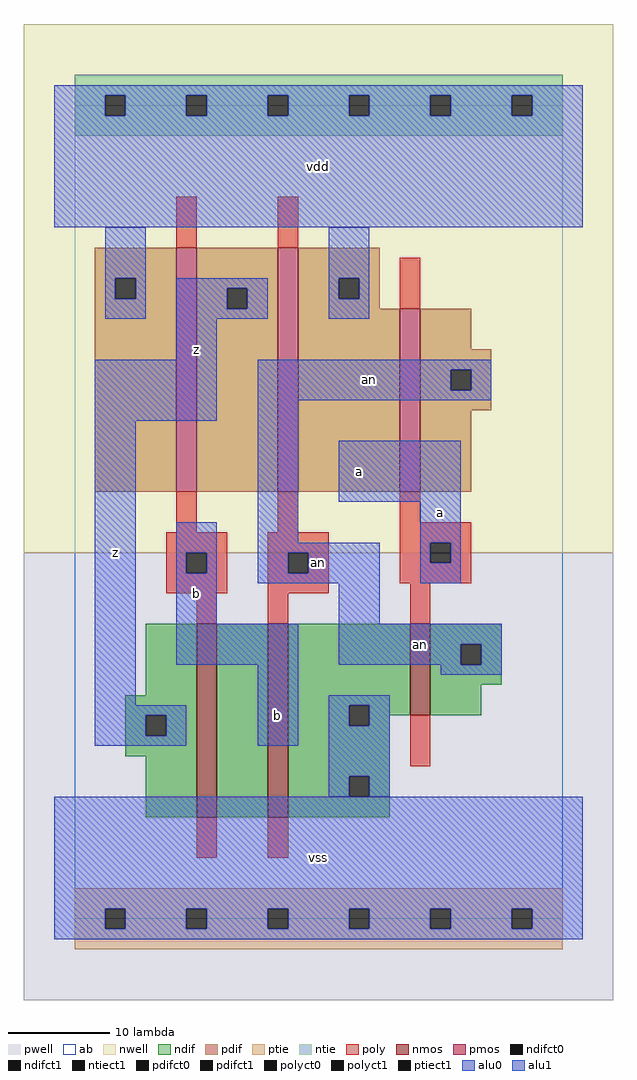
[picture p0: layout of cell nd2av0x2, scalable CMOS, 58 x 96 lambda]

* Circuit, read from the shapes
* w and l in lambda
.subckt nd2av0x2 a an b vdd vss z
M1 n1 b z vss nfet w=19 l=2
M2 vss an n1 vss nfet w=19 l=2
M3 an a vss vss nfet w=9 l=2
M4 z b vdd vdd pfet w=24 l=2
M5 vdd an z vdd pfet w=24 l=2
M6 an a vdd vdd pfet w=18 l=2
.ends

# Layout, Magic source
magic
tech scmos
<< ab >>
rect 0 0 48 80
<< nwell >>
rect -5 36 53 88
<< pwell >>
rect -5 -8 53 36
<< poly >>
rect 10 66 12 71
rect 20 66 22 71
rect 32 60 34 65
rect 10 38 12 42
rect 20 38 22 42
rect 32 39 34 42
rect 9 36 15 38
rect 9 34 11 36
rect 13 34 15 36
rect 9 32 15 34
rect 19 36 25 38
rect 19 34 21 36
rect 23 34 25 36
rect 19 32 25 34
rect 32 37 39 39
rect 32 35 35 37
rect 37 35 39 37
rect 32 33 39 35
rect 12 29 14 32
rect 19 29 21 32
rect 33 29 35 33
rect 33 15 35 20
rect 12 6 14 10
rect 19 6 21 10
<< ndif >>
rect 7 22 12 29
rect 5 20 12 22
rect 5 18 7 20
rect 9 18 12 20
rect 5 16 12 18
rect 7 10 12 16
rect 14 10 19 29
rect 21 21 33 29
rect 21 19 27 21
rect 29 20 33 21
rect 35 27 42 29
rect 35 25 38 27
rect 40 25 42 27
rect 35 23 42 25
rect 35 20 40 23
rect 29 19 31 20
rect 21 14 31 19
rect 21 12 27 14
rect 29 12 31 14
rect 21 10 31 12
<< pdif >>
rect 2 63 10 66
rect 2 61 4 63
rect 6 61 10 63
rect 2 42 10 61
rect 12 62 20 66
rect 12 60 15 62
rect 17 60 20 62
rect 12 42 20 60
rect 22 63 30 66
rect 22 61 26 63
rect 28 61 30 63
rect 22 60 30 61
rect 22 42 32 60
rect 34 56 39 60
rect 34 54 41 56
rect 34 52 37 54
rect 39 52 41 54
rect 34 50 41 52
rect 34 42 39 50
<< alu1 >>
rect -2 81 50 82
rect -2 79 3 81
rect 5 79 11 81
rect 13 79 19 81
rect 21 79 27 81
rect 29 79 35 81
rect 37 79 43 81
rect 45 79 50 81
rect -2 68 50 79
rect 10 62 19 63
rect 10 60 15 62
rect 17 60 19 62
rect 10 59 19 60
rect 10 55 14 59
rect 2 49 14 55
rect 2 21 6 49
rect 10 36 14 39
rect 10 34 11 36
rect 13 34 14 36
rect 10 29 14 34
rect 26 41 38 47
rect 34 37 38 41
rect 34 35 35 37
rect 37 35 38 37
rect 34 33 38 35
rect 10 25 22 29
rect 2 20 11 21
rect 2 18 7 20
rect 9 18 11 20
rect 2 17 11 18
rect 18 17 22 25
rect -2 1 50 12
rect -2 -1 3 1
rect 5 -1 11 1
rect 13 -1 19 1
rect 21 -1 27 1
rect 29 -1 35 1
rect 37 -1 43 1
rect 45 -1 50 1
rect -2 -2 50 -1
<< ptie >>
rect 0 1 48 3
rect 0 -1 3 1
rect 5 -1 11 1
rect 13 -1 19 1
rect 21 -1 27 1
rect 29 -1 35 1
rect 37 -1 43 1
rect 45 -1 48 1
rect 0 -3 48 -1
<< ntie >>
rect 0 81 48 83
rect 0 79 3 81
rect 5 79 11 81
rect 13 79 19 81
rect 21 79 27 81
rect 29 79 35 81
rect 37 79 43 81
rect 45 79 48 81
rect 0 77 48 79
<< nmos >>
rect 12 10 14 29
rect 19 10 21 29
rect 33 20 35 29
<< pmos >>
rect 10 42 12 66
rect 20 42 22 66
rect 32 42 34 60
<< polyct0 >>
rect 21 34 23 36
<< polyct1 >>
rect 11 34 13 36
rect 35 35 37 37
<< ndifct0 >>
rect 27 19 29 21
rect 38 25 40 27
rect 27 12 29 14
<< ndifct1 >>
rect 7 18 9 20
<< ntiect1 >>
rect 3 79 5 81
rect 11 79 13 81
rect 19 79 21 81
rect 27 79 29 81
rect 35 79 37 81
rect 43 79 45 81
<< ptiect1 >>
rect 3 -1 5 1
rect 11 -1 13 1
rect 19 -1 21 1
rect 27 -1 29 1
rect 35 -1 37 1
rect 43 -1 45 1
<< pdifct0 >>
rect 4 61 6 63
rect 26 61 28 63
rect 37 52 39 54
<< pdifct1 >>
rect 15 60 17 62
<< alu0 >>
rect 3 63 7 68
rect 25 63 29 68
rect 3 61 4 63
rect 6 61 7 63
rect 3 59 7 61
rect 25 61 26 63
rect 28 61 29 63
rect 25 59 29 61
rect 18 54 41 55
rect 18 52 37 54
rect 39 52 41 54
rect 18 51 41 52
rect 18 37 22 51
rect 18 36 30 37
rect 18 34 21 36
rect 23 34 30 36
rect 18 33 30 34
rect 26 29 30 33
rect 26 27 42 29
rect 26 25 38 27
rect 40 25 42 27
rect 36 24 42 25
rect 25 21 31 22
rect 25 19 27 21
rect 29 19 31 21
rect 25 14 31 19
rect 25 12 27 14
rect 29 12 31 14
<< labels >>
rlabel alu0 24 35 24 35 6 an
rlabel alu0 34 27 34 27 6 an
rlabel alu0 29 53 29 53 6 an
rlabel alu1 4 36 4 36 6 z
rlabel alu1 20 20 20 20 6 b
rlabel alu1 12 32 12 32 6 b
rlabel alu1 12 56 12 56 6 z
rlabel alu1 24 6 24 6 6 vss
rlabel alu1 28 44 28 44 6 a
rlabel alu1 24 74 24 74 6 vdd
rlabel alu1 36 40 36 40 6 a
<< end >>
